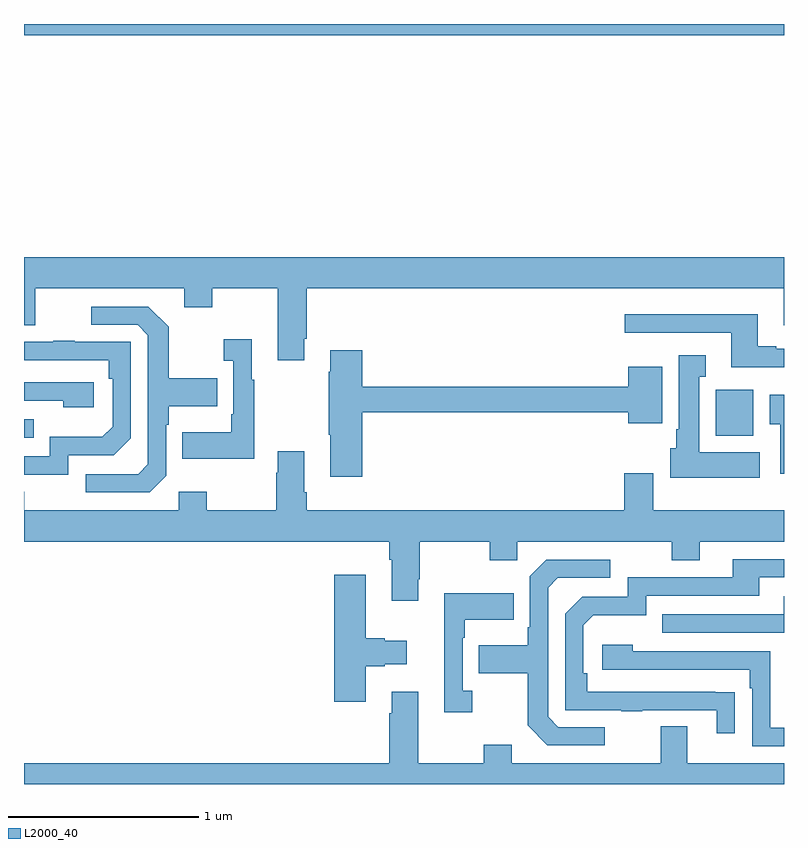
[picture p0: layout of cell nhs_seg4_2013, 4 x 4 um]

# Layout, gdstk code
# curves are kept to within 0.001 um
import gdstk
lib = gdstk.Library(unit=1e-6, precision=1e-09)
def R(c, l, rs):  # rectangles x0, y0, x1, y1
    for r in rs: c.add(gdstk.rectangle(r[:2], r[2:], *l))
def P(c, l, *ps):  # polygons
    for p in ps: c.add(gdstk.Polygon(p, *l))
L2000_40 = (2000, 40)

nhs_seg4_2013 = lib.new_cell('nhs_seg4_2013')
R(nhs_seg4_2013, L2000_40, [(215,774.723,215.051,774.819), (218.642,774.734,218.839,774.976), (215,776.84,219,776.9)])
P(nhs_seg4_2013, L2000_40, [(216.475,775.243),(216.488,775.243),(216.488,775.508),(218.999,775.508),(218.999,775.314),(219,775.314),(219,775.672),(215,775.672),(215,775.314),(215.059,775.314),(215.059,775.508),(215.843,775.508),(215.843,775.409),(215.991,775.409),(215.991,775.508),(216.335,775.508),(216.335,775.131),(216.475,775.131)],
  [(215.748,774.522),(215.748,774.791),(215.761,774.791),(215.761,774.887),(216.017,774.887),(216.017,775.035),(215.761,775.035),(215.761,775.307),(215.655,775.413),(215.355,775.413),(215.355,775.317),(215.598,775.317),(215.652,775.263),(215.652,774.582),(215.601,774.531),(215.325,774.531),(215.325,774.435),(215.661,774.435)],
  [(219,775.191),(218.959,775.191),(218.959,775.204),(218.863,775.204),(218.863,775.372),(218.163,775.372),(218.163,775.275),(218.723,775.275),(218.723,775.094),(219,775.094)],
  [(216.211,775.027),(216.199,775.027),(216.199,775.24),(216.051,775.24),(216.051,775.127),(216.102,775.127),(216.102,774.847),(216.09,774.847),(216.09,774.751),(215.833,774.751),(215.833,774.611),(216.211,774.611)],
  [(215.232,774.63),(215.472,774.63),(215.562,774.72),(215.562,775.227),(215.267,775.227),(215.267,775.232),(215.155,775.232),(215.155,775.227),(215,775.227),(215,775.131),(215.446,775.131),(215.446,775.034),(215.466,775.034),(215.466,774.78),(215.413,774.727),(215.136,774.727),(215.136,774.624),(215,774.624),(215,774.528),(215.232,774.528)],
  [(216.779,774.856),(218.18,774.856),(218.18,774.8),(218.359,774.8),(218.359,775.096),(218.18,775.096),(218.18,774.992),(216.779,774.992),(216.779,775.183),(216.611,775.183),(216.611,775.07),(216.604,775.07),(216.604,774.739),(216.611,774.739),(216.611,774.516),(216.779,774.516)],
  [(218.872,774.646),(218.554,774.646),(218.554,775.043),(218.587,775.043),(218.587,775.156),(218.447,775.156),(218.447,774.766),(218.432,774.766),(218.432,774.666),(218.402,774.666),(218.402,774.512),(218.872,774.512)],
  [(215.368,775.014),(215,775.014),(215,774.918),(215.207,774.918),(215.207,774.884),(215.368,774.884)],
  [(219,774.949),(218.924,774.949),(218.924,774.793),(218.981,774.793),(218.981,774.534),(219,774.534)],
  [(217.075,773.977),(217.083,773.977),(217.083,774.176),(217.45,774.176),(217.45,774.077),(217.596,774.077),(217.596,774.176),(218.41,774.176),(218.41,774.077),(218.557,774.077),(218.557,774.176),(219,774.176),(219,774.34),(218.311,774.34),(218.311,774.535),(218.159,774.535),(218.159,774.34),(216.488,774.34),(216.488,774.436),(216.475,774.436),(216.475,774.652),(216.335,774.652),(216.335,774.539),(216.328,774.539),(216.328,774.34),(215.961,774.34),(215.961,774.439),(215.814,774.439),(215.814,774.34),(215.001,774.34),(215.001,774.439),(215,774.439),(215,774.176),(216.923,774.176),(216.923,774.08),(216.935,774.08),(216.935,773.865),(217.075,773.865)],
  [(218.741,773.384),(217.964,773.385),(217.964,773.482),(217.944,773.482),(217.944,773.736),(217.997,773.789),(218.274,773.789),(218.274,773.892),(218.869,773.892),(218.869,773.988),(219,773.988),(219,774.084),(218.729,774.084),(218.729,773.988),(218.178,773.988),(218.178,773.886),(217.938,773.886),(217.848,773.796),(217.848,773.289),(218.143,773.289),(218.143,773.284),(218.255,773.284),(218.255,773.289),(218.645,773.289),(218.645,773.166),(218.741,773.166)],
  [(218.056,773.199),(217.812,773.199),(217.758,773.253),(217.758,773.934),(217.809,773.985),(218.086,773.985),(218.086,774.081),(217.749,774.081),(217.662,773.994),(217.662,773.725),(217.65,773.725),(217.65,773.629),(217.393,773.629),(217.393,773.482),(217.65,773.482),(217.65,773.209),(217.755,773.103),(218.056,773.103)],
  [(216.799,773.519),(216.899,773.519),(216.899,773.531),(217.015,773.531),(217.015,773.653),(216.899,773.653),(216.899,773.666),(216.799,773.666),(216.799,774.001),(216.632,774.001),(216.632,773.334),(216.799,773.334)],
  [(217.36,773.39),(217.308,773.39),(217.308,773.669),(217.321,773.669),(217.321,773.765),(217.577,773.765),(217.577,773.905),(217.211,773.905),(217.211,773.277),(217.36,773.277)],
  [(219,773.887),(218.999,773.887),(218.999,773.793),(218.359,773.793),(218.359,773.697),(219,773.697)],
  [(219,773.196),(218.928,773.196),(218.928,773.598),(218.204,773.598),(218.204,773.632),(218.043,773.632),(218.043,773.502),(218.819,773.502),(218.819,773.405),(218.832,773.405),(218.832,773.1),(219,773.1)],
  [(219,773.008),(218.491,773.008),(218.491,773.203),(218.351,773.203),(218.351,773.008),(217.567,773.008),(217.567,773.107),(217.42,773.107),(217.42,773.008),(217.075,773.008),(217.075,773.386),(216.935,773.386),(216.935,773.273),(216.923,773.273),(216.923,773.008),(215,773.008),(215,772.9),(219,772.9)])

lib.write_gds('nhs_seg4_2013.gds')
